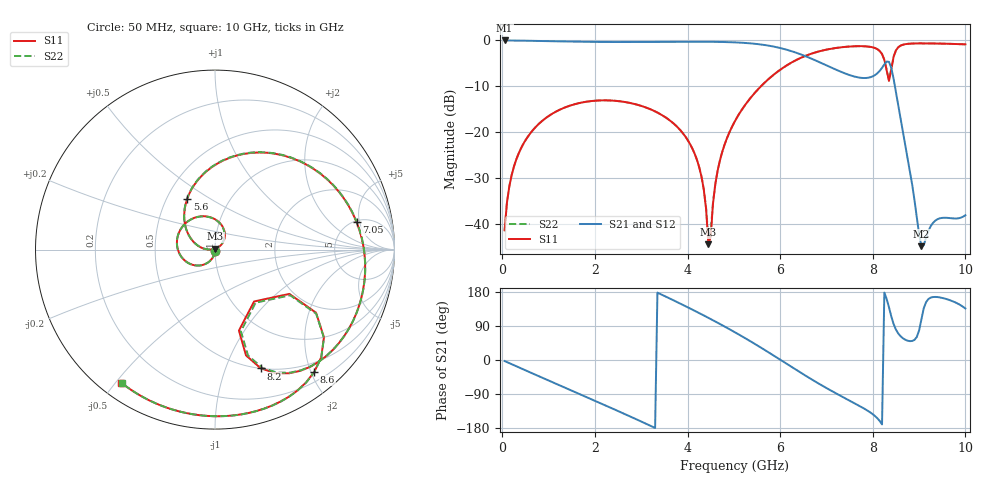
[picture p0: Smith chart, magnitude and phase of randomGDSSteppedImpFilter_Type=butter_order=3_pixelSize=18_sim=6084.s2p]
! freq	dB(S11)	phase(S11)	dB(S12)	phase(S12)
!  dB(S21)	phase(S21)	dB(S22)	phase(S22)
!S-par simulation data
#  GHz  S  DB  R 50
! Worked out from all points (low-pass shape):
!   200 points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, 50 MHz to 10 GHz, reference 50 ohm
!   highest |S21| = 0.00 dB at 50 MHz (marker M1); lowest = -44.9 dB at 9.05 GHz (marker M2)
!   |S21| within 3 dB of the highest: start of sweep to 6.437 GHz
!   lowest |S11| = -44.4 dB at 4.45 GHz (marker M3), VSWR 1.01, Z = 50.3 + j0.544 ohm
!   |S11| at or under -10 dB: start of sweep to 5.584 GHz
!   |S22| runs from -42.9 to -0.6 dB; largest |S21 - S12| = 0
!   S11 on the Smith chart (normalised r, x): 50 MHz: 1.00, -0.02; 5.6 GHz: 0.63, +0.40; 7.05 GHz: 5.20, +4.50; 8.2 GHz: 0.50, -1.33; 8.6 GHz: 0.35, -2.05; 10 GHz: 0.06, -0.52
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0.05  -41.41 -93.0  -0.00 -2.7  -0.00 -2.7  -41.41 -93.0
0.2  -29.45 -101.8  -0.02 -10.9  -0.02 -10.9  -29.45 -101.8
0.5  -21.78 -118.5  -0.06 -27.2  -0.06 -27.2  -21.78 -118.4
1.75  -13.47 174.3  -0.29 -94.3  -0.29 -94.3  -13.47 174.6
2.7  -13.51 123.1  -0.34 -145.7  -0.34 -145.7  -13.51 123.6
3.4  -15.99 84.0  -0.31 174.9  -0.31 174.9  -15.99 84.8
4.2  -25.94 39.3  -0.28 127.0  -0.28 127.0  -25.93 41.5
4.35  -32.44 35.1  -0.28 117.6  -0.28 117.6  -32.35 39.2
4.45  -44.41 64.1  -0.29 111.3  -0.29 111.3  -42.94 73.5
4.65  -28.39 179.7  -0.31 98.3  -0.31 98.3  -28.34 178.0
5.05  -17.11 157.4  -0.43 71.3  -0.43 71.3  -17.11 157.3
5.6  -9.84 118.7  -0.90 31.6  -0.90 31.6  -9.84 119.1
6.1  -5.71 80.9  -1.90 -6.9  -1.90 -6.9  -5.71 81.3
6.7  -2.80 35.6  -4.07 -52.6  -4.07 -52.6  -2.80 36.0
7.05  -1.90 11.0  -5.66 -77.5  -5.66 -77.5  -1.90 11.4
7.7  -1.25 -30.7  -8.09 -120.3  -8.09 -120.3  -1.24 -30.3
8.2  -2.98 -68.9  -5.97 -169.9  -5.97 -169.9  -2.96 -68.1
8.35  -8.83 -53.0  -4.67 139.0  -4.67 139.0  -8.58 -52.6
8.45  -3.57 -32.0  -8.37 94.8  -8.37 94.8  -3.51 -32.4
8.6  -1.14 -50.9  -17.02 62.8  -17.02 62.8  -1.13 -50.9
9.05  -0.63 -80.9  -44.85 106.7  -44.85 106.7  -0.63 -80.8
10  -0.85 -125.2  -38.12 136.0  -38.12 136.0  -0.85 -125.0
